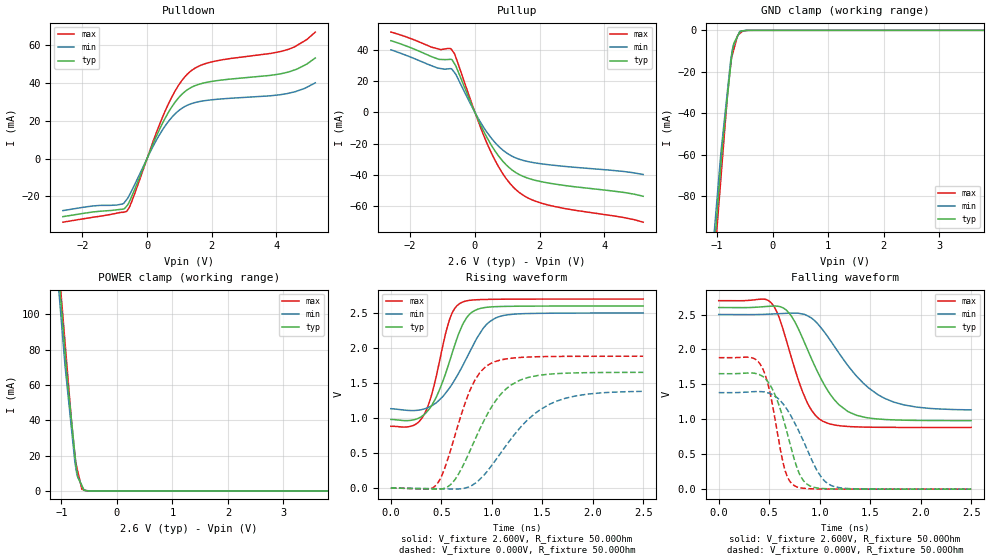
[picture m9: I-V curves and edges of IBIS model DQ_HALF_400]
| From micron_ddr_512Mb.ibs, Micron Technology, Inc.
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|   MODEL DQ_HALF_400
[Model]   DQ_HALF_400
Model_type   I/O
Vinl = 0.990V
Vinh = 1.610V
Vmeas = 1.300V
Vref = 1.300V
Cref = 30.000pF
Rref = 50.000Ohm
|   typ   min   max
C_comp   3.00pF   2.85pF   3.15pF
[Model Spec]
| Input threshold voltage corners
Vinh   1.610V   1.560V   1.660V
Vinl   0.990V   0.940V   1.040V
| Measurement voltage corners
Vmeas   1.300V   1.250V   1.350V
| Timing spec test load voltage corners
Vref   1.300V   1.250V   1.350V
| Overshoot/Undershoot
S_overshoot_high   2.900V   2.800V   3.000V
S_overshoot_low   -0.300V   -0.300V   -0.300V
D_overshoot_high   4.100V   4.000V   4.200V
D_overshoot_low   -1.500V   -1.500V   -1.500V
D_overshoot_time   1.667n   1.667n   1.667n
[Receiver Thresholds]
Vth   =  1.300V
Vth_min  =  1.274V
Vth_max  =  1.326V
Vinh_ac  =  0.310V
Vinh_dc  =  0.150V
Vinl_ac  = -0.310V
Vinl_dc  = -0.150V
Tslew_ac =  10.000ns |Not specified, so set to high value
Threshold_sensitivity = 0.50
Reference_supply Pullup_ref
[Voltage Range]   2.600V   2.500V   2.700V
[Pullup Reference]   2.600V   2.500V   2.700V
| Junction Temperature (Ambient temp is 25C typ, 70C min, 0C max)
[Temperature Range]   40.0   85.0   0.0
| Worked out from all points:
|   slope of the pulldown table from 0 to 0.39 V, typ, clamps not added: 24.9 ohm
|   slope of the pullup table from 0 to 0.39 V, typ, clamps not added: 23.3 ohm
|   GND clamp passes 1 mA (typ) near -0.60 V on its own axis
|   POWER clamp passes 1 mA (typ) near -0.60 V on its own axis
|   falling waveform, V_fixture 2.600V, R_fixture 50.00Ohm: 20-80 % time 337ps typ, 466ps min, 248ps max; typ from 2.6 V to 0.981 V
|   rising waveform, V_fixture 2.600V, R_fixture 50.00Ohm: 20-80 % time 242ps typ, 321ps min, 181ps max; typ from 0.981 V to 2.6 V
|   rising waveform, V_fixture 0.000V, R_fixture 50.00Ohm: 20-80 % time 360ps typ, 492ps min, 265ps max; typ from 0 V to 1.65 V
|   falling waveform, V_fixture 0.000V, R_fixture 50.00Ohm: 20-80 % time 205ps typ, 277ps min, 151ps max; typ from 1.65 V to 0 V
[Pulldown]
|   Voltage   I(typ)   I(min)   I(max)
-2.6V     -30.77mA   -27.57mA   -33.72mA
-935mV    -27.14mA   -24.62mA   -28.94mA
-630mV    -25.2mA    -21.74mA   -28.01mA
-460mV    -19.52mA   -16.5mA    -22.23mA
235mV     9.8mA      8.087mA    11.32mA
615mV     23.16mA    18.66mA    27.32mA
975mV     32.26mA    25.37mA    38.92mA
1.38V     37.88mA    29.2mA     46.78mA
2.05V     41.08mA    31.28mA    51.5mA
4.35V     45.85mA    34.56mA    57.86mA
4.94V     50.16mA    37.85mA    63.17mA
5.2V      53.38mA    40.18mA    67.1mA
[GND Clamp]
|   Voltage   I(typ)   I(min)   I(max)
-2.6V     -699mA     -663.5mA   -736mA
-1.05V    -103.9mA   -96.24mA   -110.9mA
-935mV    -65.27mA   -59.5mA    -71.84mA
-900mV    -53.69mA   -50.6mA    -59.94mA
-820mV    -32.99mA   -30.37mA   -32.73mA
-755mV    -16.17mA   -14.04mA   -16.23mA
-735mV    -11.15mA   -10.81mA   -12.57mA
-700mV    -6.213mA   -6.944mA   -9.13mA
-630mV    -2.586mA   -2.724mA   -2.359mA
-590mV    -588.4uA   -517.8uA   -1.464mA
-375mV    0A         -604.6nA   -3.695uA
5.2V      0A         0A         0A
[Pullup]
|   Voltage   I(typ)   I(min)   I(max)
-2.6V     45.84mA    39.98mA    51.34mA
-1.11V    33.9mA     28.21mA    40.44mA
-740mV    33.95mA    27.92mA    40.65mA
-630mV    31.09mA    25.45mA    37.47mA
55mV      -2.605mA   -2.085mA   -2.978mA
495mV     -20.51mA   -16.11mA   -25.29mA
725mV     -27.65mA   -21.49mA   -34.51mA
965mV     -33.45mA   -25.65mA   -42.26mA
1.395V    -39.95mA   -30.05mA   -51.53mA
1.78V     -42.9mA    -31.94mA   -55.98mA
2.36V     -45.4mA    -33.6mA    -59.63mA
5.2V      -53.54mA   -39.65mA   -70.11mA
[POWER Clamp]
|   Voltage   I(typ)   I(min)   I(max)
-2.6V     793.4mA    770mA      815mA
-1.05V    123.5mA    115mA      128.4mA
-935mV    78.89mA    71.16mA    84.33mA
-900mV    65.5mA     60.35mA    70.91mA
-820mV    40.48mA    35.77mA    40.23mA
-755mV    20.16mA    15.94mA    20mA
-735mV    14.06mA    12.08mA    15.2mA
-720mV    11.15mA    9.186mA    13.14mA
-700mV    7.515mA    7.539mA    10.38mA
-630mV    2.873mA    2.846mA    924.7uA
-590mV    327.7uA    398.3uA    525.1uA
5.2V      0A         0A         0A
[Ramp]
R_load = 50.00Ohm
|   typ   min   max
dV/dt_r   991.736mV/360.231ps 829.113mV/491.594ps   1.129V/264.925ps
dV/dt_f   971.244mV/336.904ps 819.204mV/466.413ps   1.089V/247.622ps
[Falling Waveform]
V_fixture = 2.600V
V_fixture_min = 2.500V
V_fixture_max = 2.700V
R_fixture = 50.00Ohm
|   Time   V(typ)   V(min)   V(max)
0s        2.6V       2.5V       2.699V
530ps     2.62V      2.507V     2.649V
600ps     2.615V     2.512V     2.45V
710ps     2.498V     2.519V     1.931V
880ps     1.996V     2.48V      1.229V
1.03ns    1.535V     2.28V      973mV
1.28ns    1.11V      1.768V     897.6mV
1.64ns    997.6mV    1.302V     884.9mV
1.96ns    984.4mV    1.175V     883.6mV
2.5ns     981.1mV    1.135V     883.4mV
[Rising Waveform]
V_fixture = 2.600V
V_fixture_min = 2.500V
V_fixture_max = 2.700V
R_fixture = 50.00Ohm
|   Time   V(typ)   V(min)   V(max)
0s        981.1mV    1.135V     883.4mV
200ps     968.7mV    1.108V     884.3mV
320ps     1.039V     1.127V     1.027V
410ps     1.194V     1.181V     1.362V
580ps     1.801V     1.427V     2.399V
700ps     2.298V     1.716V     2.649V
800ps     2.507V     1.996V     2.684V
920ps     2.575V     2.29V      2.693V
1.08ns    2.592V     2.451V     2.696V
2.5ns     2.6V       2.5V       2.699V
[Rising Waveform]
V_fixture = 0.000V
V_fixture_min = 0.000V
V_fixture_max = 0.000V
R_fixture = 50.00Ohm
|   Time   V(typ)   V(min)   V(max)
0s        60.64uV    -2.813uV   681.5uV
380ps     -10.83mV   -5.543mV   -11.79mV
460ps     -14.03mV   -7.732mV   64.26mV
610ps     76.54mV    -11.86mV   628.7mV
800ps     584.5mV    36.76mV    1.447V
990ps     1.141V     306.5mV    1.78V
1.19ns    1.471V     701.7mV    1.854V
1.58ns    1.628V     1.203V     1.879V
1.96ns    1.649V     1.344V     1.882V
2.5ns     1.653V     1.382V     1.883V
[Falling Waveform]
V_fixture = 0.000V
V_fixture_min = 0.000V
V_fixture_max = 0.000V
R_fixture = 50.00Ohm
|   Time   V(typ)   V(min)   V(max)
0s        1.653V     1.382V     1.883V
310ps     1.663V     1.392V     1.887V
420ps     1.626V     1.396V     1.766V
510ps     1.488V     1.369V     1.365V
650ps     952.6mV    1.197V     304.1mV
760ps     373.2mV    926.2mV    41.43mV
870ps     76.46mV    587.3mV    8.694mV
980ps     15.78mV    249.4mV    3.333mV
1.12ns    4.074mV    48.78mV    1.646mV
2.5ns     60.64uV    -2.813uV   681.5uV
